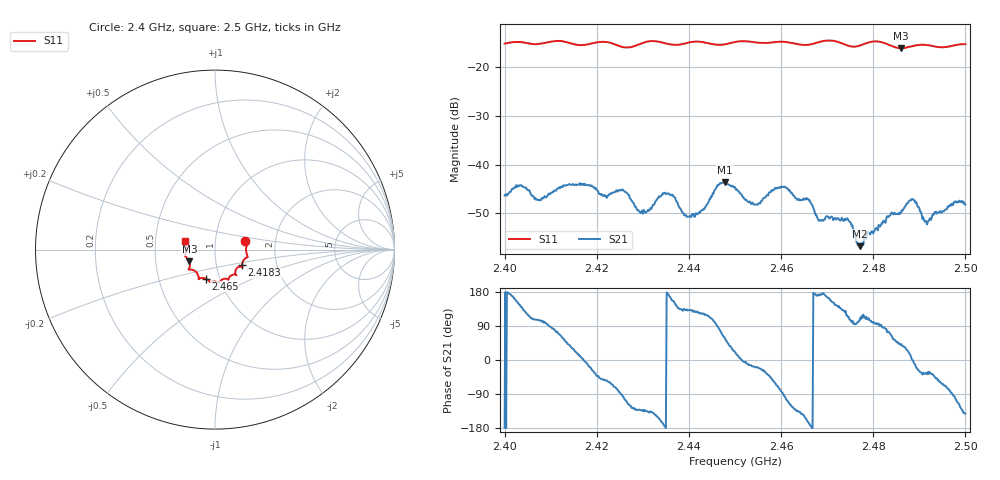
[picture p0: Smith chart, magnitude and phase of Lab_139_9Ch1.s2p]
# Hz S RI R 50
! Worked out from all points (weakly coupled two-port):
!   601 points, 2.4 GHz to 2.5 GHz, reference 50 ohm
!   highest |S21| = -43.67 dB at 2.4478 GHz (marker M1); lowest = -56.8 dB at 2.4772 GHz (marker M2)
!   lowest |S11| = -16.1 dB at 2.486 GHz (marker M3), VSWR 1.37, Z = 37.2 - j4.97 ohm
!   |S11| at or under -10 dB: start of sweep to end of sweep
!   S12 and S22 are empty: the file has one direction only
!   S11 on the Smith chart (normalised r, x): 2.4 GHz: 1.40, +0.14; 2.4183 GHz: 1.33, -0.24; 2.465 GHz: 0.86, -0.28; 2.5 GHz: 0.71, +0.07
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2.4e9  0.1688 0.047  -0.00482 -0.000125  0 0  0 0
2.416667e9  0.1546 -0.0681  0.00629 0.000705  0 0  0 0
2.418333e9  0.1501 -0.0869  0.00593 -0.00178  0 0  0 0
2.426e9  0.1253 -0.0999  -0.00119 -0.00518  0 0  0 0
2.4295e9  0.1131 -0.1331  -0.00214 -0.00234  0 0  0 0
2.433333e9  0.1176 -0.1409  -0.00401 -0.00211  0 0  0 0
2.4365e9  0.0954 -0.1415  -0.00446 0.00197  0 0  0 0
2.44e9  0.076 -0.163  -0.00192 0.00219  0 0  0 0
2.447833e9  0.0375 -0.1684  0.00365 0.00544  0 0  0 0
2.45e9  0.0261 -0.1803  0.00545 0.00209  0 0  0 0
2.4545e9  0.0112 -0.1798  0.00366 -0.00131  0 0  0 0
2.460167e9  -0.0272 -0.1814  0.000488 -0.00594  0 0  0 0
2.465e9  -0.0524 -0.1615  -0.00373 -0.00244  0 0  0 0
2.466667e9  -0.0713 -0.1577  -0.00389 -0.000102  0 0  0 0
2.4685e9  -0.0867 -0.1614  -0.00265 0.000417  0 0  0 0
2.474667e9  -0.0982 -0.1338  -0.00107 0.00242  0 0  0 0
2.477167e9  -0.1235 -0.1133  -0.000525 0.00135  0 0  0 0
2.483333e9  -0.1411 -0.0965  0.000779 0.00279  0 0  0 0
2.486e9  -0.1428 -0.0651  0.00233 0.00214  0 0  0 0
2.4885e9  -0.1595 -0.0433  0.00444 1.14e-05  0 0  0 0
2.491667e9  -0.1666 -0.0307  0.00193 -0.00148  0 0  0 0
2.5e9  -0.1664 0.0467  -0.00304 -0.0024  0 0  0 0
